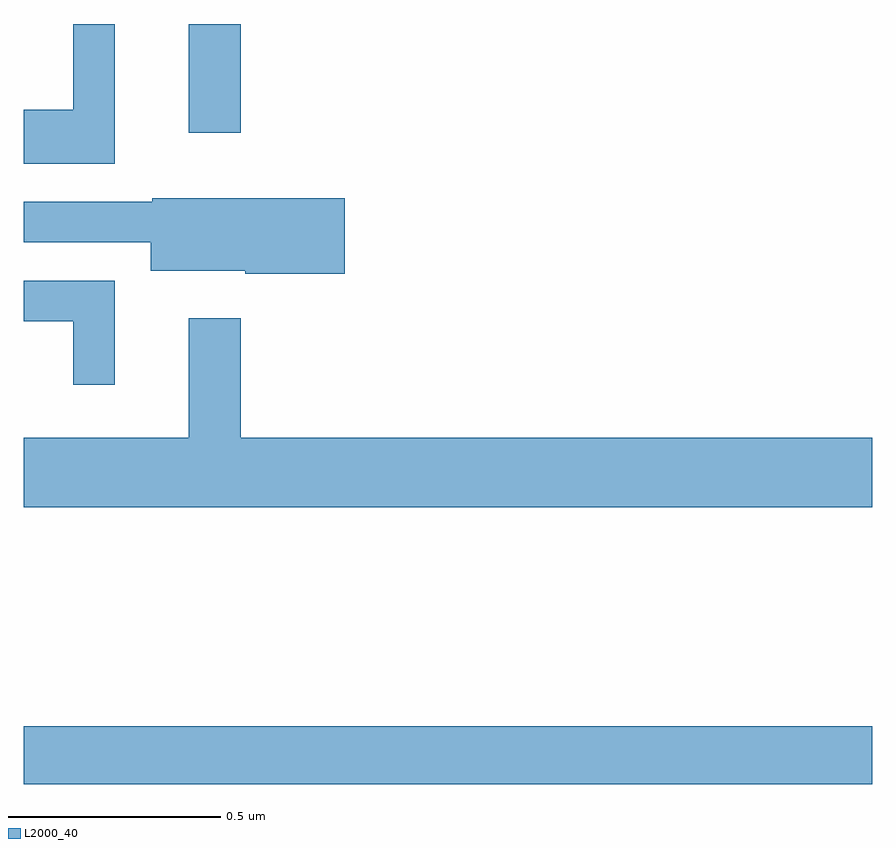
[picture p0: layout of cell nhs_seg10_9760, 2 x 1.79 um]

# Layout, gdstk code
import gdstk
lib = gdstk.Library(unit=1e-6, precision=1e-09)
def R(c, l, rs):  # rectangles x0, y0, x1, y1
    for r in rs: c.add(gdstk.rectangle(r[:2], r[2:], *l))
def P(c, l, *ps):  # polygons
    for p in ps: c.add(gdstk.Polygon(p, *l))
L2000_40 = (2000, 40)

nhs_seg10_9760 = lib.new_cell('nhs_seg10_9760')
R(nhs_seg10_9760, L2000_40, [(234,1255.708,236,1255.844), (234.389,1257.243,234.511,1257.5)])
P(nhs_seg10_9760, L2000_40, [(234.214,1257.5),(234.116,1257.5),(234.116,1257.298),(234,1257.298),(234,1257.17),(234.214,1257.17)],
  [(234.757,1257.089),(234.303,1257.089),(234.303,1257.081),(234,1257.081),(234,1256.985),(234.299,1256.985),(234.299,1256.918),(234.522,1256.918),(234.522,1256.911),(234.757,1256.911)],
  [(234.214,1256.895),(234,1256.895),(234,1256.799),(234.116,1256.799),(234.116,1256.649),(234.214,1256.649)],
  [(234.389,1256.806),(234.389,1256.524),(234,1256.524),(234,1256.36),(236,1256.36),(236,1256.524),(234.511,1256.524),(234.511,1256.806)])

lib.write_gds('nhs_seg10_9760.gds')
